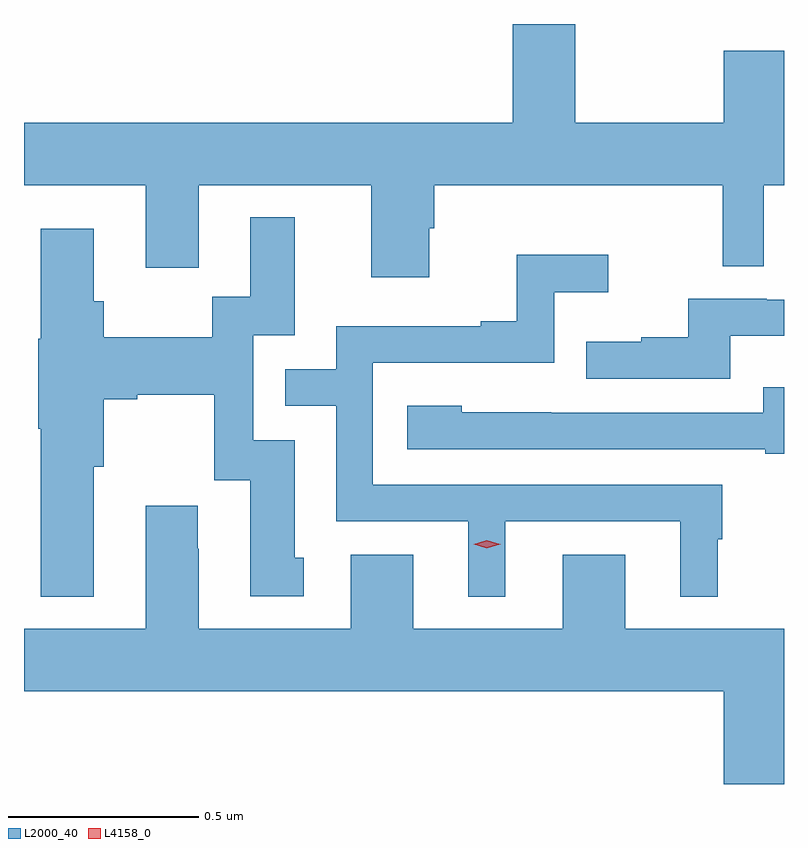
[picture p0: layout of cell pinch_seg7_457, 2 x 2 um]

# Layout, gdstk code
import gdstk
lib = gdstk.Library(unit=1e-6, precision=1e-09)
def P(c, l, *ps):  # polygons
    for p in ps: c.add(gdstk.Polygon(p, *l))
L2000_40 = (2000, 40)
L4158_0 = (4158, 0)

pinch_seg7_457 = lib.new_cell('pinch_seg7_457')
P(pinch_seg7_457, L2000_40, [(271.059,1051.232),(271.379,1051.232),(271.379,1051.014),(271.519,1051.014),(271.519,1051.232),(271.973,1051.232),(271.973,1050.99),(272.125,1050.99),(272.125,1051.119),(272.138,1051.119),(272.138,1051.232),(272.898,1051.232),(272.898,1051.018),(273.006,1051.018),(273.006,1051.232),(273.059,1051.232),(273.059,1051.585),(272.9,1051.585),(272.9,1051.396),(272.509,1051.396),(272.509,1051.656),(272.345,1051.656),(272.345,1051.396),(271.059,1051.396)],
  [(271.243,1050.491),(271.269,1050.491),(271.269,1050.668),(271.357,1050.668),(271.357,1050.68),(271.559,1050.68),(271.559,1050.456),(271.655,1050.456),(271.655,1050.15),(271.795,1050.15),(271.795,1050.252),(271.771,1050.252),(271.771,1050.561),(271.662,1050.561),(271.662,1050.837),(271.771,1050.837),(271.771,1051.147),(271.655,1051.147),(271.655,1050.938),(271.554,1050.938),(271.554,1050.832),(271.269,1050.832),(271.269,1050.927),(271.243,1050.927),(271.243,1051.117),(271.103,1051.117),(271.103,1050.828),(271.096,1050.828),(271.096,1050.591),(271.103,1050.591),(271.103,1050.149),(271.243,1050.149)],
  [(272.326,1050.348),(272.786,1050.348),(272.786,1050.149),(272.884,1050.149),(272.884,1050.3),(272.896,1050.3),(272.896,1050.444),(271.977,1050.444),(271.977,1050.765),(272.454,1050.765),(272.454,1050.95),(272.596,1050.95),(272.596,1051.049),(272.356,1051.049),(272.356,1050.874),(272.261,1050.874),(272.261,1050.861),(271.881,1050.861),(271.881,1050.747),(271.747,1050.747),(271.747,1050.651),(271.881,1050.651),(271.881,1050.348),(272.228,1050.348),(272.228,1050.149),(272.326,1050.149)],
  [(272.917,1050.836),(273.059,1050.836),(273.059,1050.93),(273.014,1050.93),(273.014,1050.933),(272.807,1050.933),(272.807,1050.832),(272.683,1050.832),(272.683,1050.82),(272.539,1050.82),(272.539,1050.723),(272.917,1050.723)],
  [(273.059,1050.7),(273.005,1050.7),(273.005,1050.633),(272.447,1050.633),(272.447,1050.634),(272.211,1050.634),(272.211,1050.652),(272.067,1050.652),(272.067,1050.537),(273.009,1050.537),(273.009,1050.525),(273.059,1050.525)],
  [(273.059,1050.064),(272.641,1050.064),(272.641,1050.259),(272.477,1050.259),(272.477,1050.064),(272.083,1050.064),(272.083,1050.259),(271.919,1050.259),(271.919,1050.064),(271.519,1050.064),(271.519,1050.275),(271.516,1050.275),(271.516,1050.388),(271.379,1050.388),(271.379,1050.064),(271.059,1050.064),(271.059,1049.9),(272.9,1049.9),(272.9,1049.656),(273.059,1049.656)])
P(pinch_seg7_457, L4158_0, [(272.277,1050.277),(272.242,1050.287),(272.241,1050.287),(272.242,1050.287),(272.277,1050.297),(272.312,1050.287),(272.313,1050.287),(272.312,1050.287)])

lib.write_gds('pinch_seg7_457.gds')
